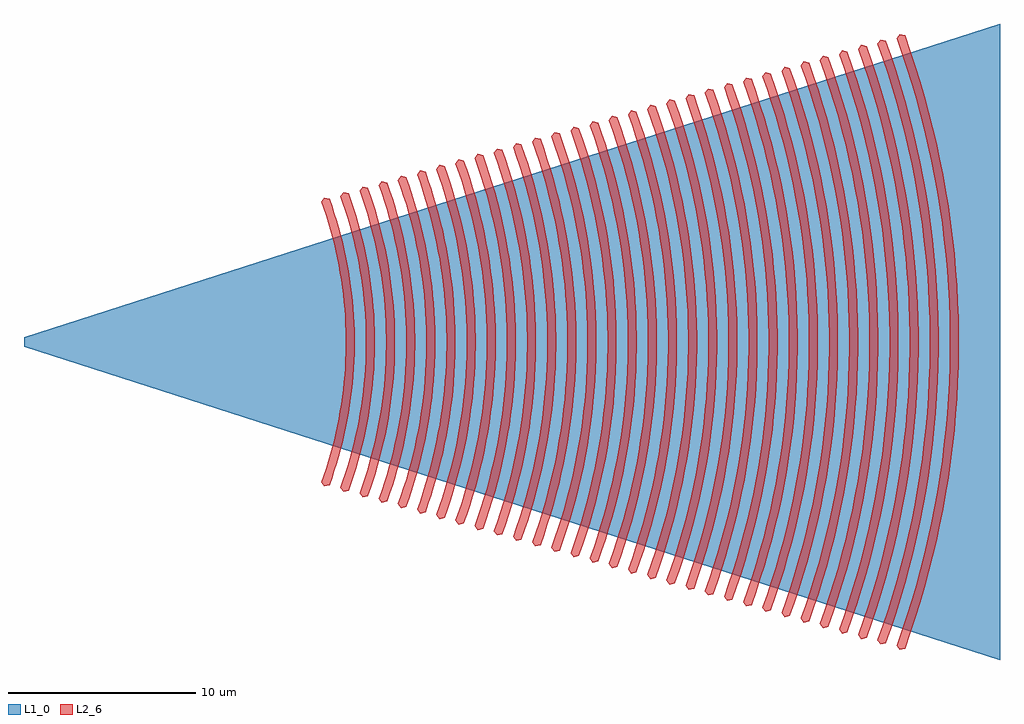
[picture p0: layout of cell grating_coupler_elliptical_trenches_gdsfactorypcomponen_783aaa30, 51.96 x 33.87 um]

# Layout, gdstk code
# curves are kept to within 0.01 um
import gdstk
lib = gdstk.Library(unit=1e-6, precision=1e-09)
def P(c, l, *ps):  # polygons
    for p in ps: c.add(gdstk.Polygon(p, *l))
L1_0 = (1, 0)
L2_6 = (2, 6)

grating_coupler_elliptic = lib.new_cell('grating_coupler_elliptical_trenches_gdsfactorypcomponen_783aaa30')
P(grating_coupler_elliptic, L1_0, [(62.46,-16.933),(10.5,-0.25),(10.5,0.25),(62.46,16.933)])
P(grating_coupler_elliptic, L2_6, [(26.496,-7.69),(26.325,-7.464),(26.695,-6.349),(26.909,-5.597),(27.178,-4.457),(27.385,-3.304),(27.49,-2.53),(27.566,-1.754),(27.614,-0.976),(27.635,-0.195),(27.628,0.585),(27.566,1.754),(27.49,2.53),(27.385,3.304),(27.178,4.457),(26.909,5.597),(26.695,6.349),(26.325,7.464),(26.496,7.69),(26.771,7.62),(27.028,6.866),(27.259,6.103),(27.463,5.33),(27.64,4.553),(27.851,3.376),(28.001,2.189),(28.065,1.394),(28.107,0.199),(28.086,-0.996),(28.001,-2.189),(27.851,-3.376),(27.64,-4.553),(27.463,-5.33),(27.259,-6.103),(27.028,-6.866),(26.771,-7.62)],
  [(27.517,-7.98),(27.346,-7.754),(27.731,-6.596),(28.053,-5.421),(28.232,-4.63),(28.448,-3.432),(28.556,-2.629),(28.635,-1.822),(28.685,-1.012),(28.707,-0.203),(28.7,0.608),(28.635,1.822),(28.556,2.629),(28.448,3.432),(28.232,4.63),(28.053,5.421),(27.731,6.596),(27.346,7.754),(27.517,7.98),(27.792,7.91),(28.059,7.127),(28.299,6.334),(28.511,5.533),(28.694,4.726),(28.914,3.504),(29.069,2.272),(29.135,1.447),(29.179,0.207),(29.157,-1.034),(29.069,-2.272),(28.914,-3.504),(28.694,-4.726),(28.511,-5.533),(28.299,-6.334),(28.059,-7.127),(27.792,-7.91)],
  [(28.538,-8.27),(28.367,-8.044),(28.766,-6.843),(28.996,-6.032),(29.286,-4.803),(29.51,-3.56),(29.622,-2.727),(29.704,-1.89),(29.756,-1.051),(29.779,-0.21),(29.771,0.631),(29.734,1.47),(29.667,2.309),(29.51,3.56),(29.286,4.803),(28.996,6.032),(28.766,6.843),(28.367,8.044),(28.538,8.27),(28.813,8.2),(29.09,7.389),(29.339,6.566),(29.558,5.736),(29.748,4.899),(29.976,3.632),(30.137,2.355),(30.206,1.5),(30.251,0.214),(30.228,-1.071),(30.137,-2.355),(29.976,-3.632),(29.748,-4.899),(29.558,-5.736),(29.339,-6.566),(29.09,-7.389),(28.813,-8.2)],
  [(29.559,-8.56),(29.388,-8.334),(29.802,-7.089),(30.04,-6.25),(30.34,-4.976),(30.572,-3.689),(30.688,-2.826),(30.774,-1.958),(30.827,-1.089),(30.851,-0.218),(30.843,0.654),(30.774,1.958),(30.688,2.826),(30.572,3.689),(30.34,4.976),(30.04,6.25),(29.802,7.089),(29.388,8.334),(29.559,8.56),(29.834,8.49),(30.121,7.651),(30.378,6.799),(30.605,5.939),(30.802,5.072),(31.038,3.761),(31.204,2.438),(31.276,1.552),(31.323,0.222),(31.299,-1.109),(31.204,-2.438),(31.038,-3.761),(30.802,-5.072),(30.605,-5.939),(30.378,-6.799),(30.121,-7.651),(29.834,-8.49)],
  [(30.58,-8.85),(30.409,-8.624),(30.837,-7.336),(31.195,-6.029),(31.482,-4.707),(31.634,-3.817),(31.755,-2.924),(31.843,-2.026),(31.899,-1.126),(31.923,-0.226),(31.915,0.676),(31.843,2.026),(31.755,2.924),(31.634,3.817),(31.482,4.707),(31.195,6.029),(30.837,7.336),(30.409,8.624),(30.58,8.85),(30.855,8.78),(31.152,7.911),(31.418,7.031),(31.653,6.143),(31.856,5.246),(32.028,4.343),(32.223,2.978),(32.346,1.607),(32.395,0.23),(32.371,-1.148),(32.272,-2.522),(32.1,-3.889),(31.856,-5.246),(31.653,-6.143),(31.418,-7.031),(31.152,-7.911),(30.855,-8.78)],
  [(31.601,-9.14),(31.43,-8.914),(31.733,-8.029),(32.127,-6.685),(32.448,-5.323),(32.697,-3.946),(32.821,-3.023),(32.912,-2.095),(32.97,-1.164),(32.995,-0.233),(32.987,0.699),(32.912,2.095),(32.821,3.023),(32.697,3.946),(32.448,5.323),(32.127,6.685),(31.733,8.029),(31.43,8.914),(31.601,9.14),(31.876,9.07),(32.183,8.173),(32.458,7.263),(32.7,6.345),(32.91,5.419),(33.163,4.018),(33.34,2.605),(33.417,1.66),(33.467,0.237),(33.442,-1.186),(33.34,-2.605),(33.163,-4.018),(33.003,-4.953),(32.809,-5.883),(32.583,-6.805),(32.324,-7.719),(32.032,-8.624),(31.876,-9.07)],
  [(32.622,-9.431),(32.451,-9.204),(32.908,-7.83),(33.171,-6.903),(33.503,-5.496),(33.759,-4.074),(33.887,-3.121),(33.981,-2.163),(34.041,-1.203),(34.067,-0.241),(34.041,1.203),(33.981,2.163),(33.887,3.121),(33.759,4.074),(33.503,5.496),(33.171,6.903),(32.908,7.83),(32.451,9.204),(32.622,9.431),(32.897,9.362),(33.059,8.9),(33.498,7.495),(33.748,6.548),(33.965,5.592),(34.225,4.146),(34.408,2.688),(34.487,1.713),(34.539,0.245),(34.513,-1.223),(34.408,-2.688),(34.225,-4.146),(33.965,-5.592),(33.748,-6.548),(33.498,-7.495),(33.059,-8.9),(32.897,-9.362)],
  [(33.643,-9.721),(33.472,-9.495),(33.795,-8.551),(34.215,-7.12),(34.557,-5.669),(34.821,-4.203),(34.954,-3.219),(35.051,-2.231),(35.112,-1.24),(35.139,-0.248),(35.13,0.745),(35.051,2.231),(34.954,3.219),(34.821,4.203),(34.557,5.669),(34.215,7.12),(33.795,8.551),(33.472,9.495),(33.643,9.721),(33.918,9.651),(34.085,9.175),(34.395,8.213),(34.671,7.24),(35.019,5.765),(35.287,4.275),(35.476,2.772),(35.557,1.766),(35.611,0.252),(35.584,-1.262),(35.521,-2.269),(35.359,-3.775),(35.117,-5.27),(34.911,-6.259),(34.671,-7.24),(34.245,-8.695),(33.918,-9.651)],
  [(34.664,-10.011),(34.493,-9.785),(34.979,-8.324),(35.385,-6.841),(35.611,-5.843),(35.883,-4.331),(36.02,-3.318),(36.12,-2.299),(36.183,-1.278),(36.211,-0.256),(36.202,0.767),(36.12,2.299),(36.02,3.318),(35.883,4.331),(35.611,5.843),(35.385,6.841),(34.979,8.324),(34.493,9.785),(34.664,10.011),(34.939,9.941),(35.111,9.451),(35.276,8.957),(35.577,7.96),(35.843,6.953),(36.073,5.939),(36.267,4.916),(36.349,4.403),(36.424,3.889),(36.544,2.855),(36.628,1.819),(36.683,0.26),(36.655,-1.3),(36.628,-1.819),(36.544,-2.855),(36.424,-3.889),(36.174,-5.428),(35.843,-6.953),(35.577,-7.96),(35.276,-8.957),(34.939,-9.941)],
  [(35.685,-10.301),(35.514,-10.075),(35.857,-9.074),(36.302,-7.555),(36.665,-6.016),(36.946,-4.46),(37.086,-3.416),(37.189,-2.367),(37.254,-1.317),(37.283,-0.263),(37.273,0.79),(37.189,2.367),(37.086,3.416),(36.946,4.46),(36.665,6.016),(36.302,7.555),(35.857,9.074),(35.514,10.075),(35.685,10.301),(35.96,10.231),(36.137,9.727),(36.307,9.218),(36.617,8.192),(36.89,7.156),(37.127,6.112),(37.232,5.587),(37.412,4.532),(37.612,2.938),(37.698,1.872),(37.755,0.267),(37.726,-1.337),(37.698,-1.872),(37.612,-2.938),(37.412,-4.532),(37.232,-5.587),(37.013,-6.635),(36.758,-7.675),(36.307,-9.218),(35.96,-10.231)],
  [(36.706,-10.591),(36.535,-10.364),(36.717,-9.851),(37.05,-8.817),(37.346,-7.773),(37.719,-6.189),(38.008,-4.588),(38.153,-3.514),(38.258,-2.436),(38.326,-1.354),(38.355,-0.271),(38.326,1.354),(38.258,2.436),(38.153,3.514),(38.008,4.588),(37.719,6.189),(37.346,7.773),(37.05,8.817),(36.717,9.851),(36.535,10.364),(36.706,10.591),(36.981,10.522),(37.163,10.003),(37.502,8.953),(37.802,7.893),(38.181,6.285),(38.387,5.203),(38.474,4.66),(38.553,4.115),(38.68,3.021),(38.798,1.376),(38.827,0.275),(38.798,-1.376),(38.68,-3.021),(38.553,-4.115),(38.387,-5.203),(38.289,-5.745),(38.064,-6.823),(37.802,-7.893),(37.502,-8.953),(37.337,-9.479),(36.981,-10.522)],
  [(37.727,-10.881),(37.556,-10.655),(37.743,-10.126),(38.085,-9.064),(38.242,-8.529),(38.527,-7.45),(38.882,-5.815),(39.07,-4.717),(39.219,-3.613),(39.328,-2.504),(39.397,-1.391),(39.427,-0.279),(39.417,0.836),(39.328,2.504),(39.219,3.613),(39.07,4.717),(38.882,5.815),(38.527,7.45),(38.242,8.529),(38.085,9.064),(37.743,10.126),(37.556,10.655),(37.727,10.881),(38.002,10.811),(38.189,10.278),(38.368,9.741),(38.696,8.657),(38.985,7.562),(39.235,6.458),(39.346,5.903),(39.536,4.789),(39.617,4.229),(39.748,3.105),(39.839,1.978),(39.899,0.283),(39.899,-0.283),(39.869,-1.413),(39.839,-1.978),(39.748,-3.105),(39.617,-4.229),(39.346,-5.903),(38.985,-7.562),(38.696,-8.657),(38.368,-9.741),(38.002,-10.811)],
  [(38.748,-11.171),(38.577,-10.945),(38.769,-10.402),(39.12,-9.311),(39.282,-8.761),(39.575,-7.653),(39.828,-6.536),(40.132,-4.845),(40.285,-3.711),(40.397,-2.572),(40.468,-1.43),(40.499,-0.286),(40.499,0.286),(40.468,1.43),(40.397,2.572),(40.285,3.711),(40.132,4.845),(39.828,6.536),(39.575,7.653),(39.282,8.761),(39.12,9.311),(38.769,10.402),(38.577,10.945),(38.748,11.171),(39.023,11.101),(39.215,10.554),(39.399,10.002),(39.736,8.889),(40.033,7.765),(40.29,6.632),(40.506,5.49),(40.598,4.917),(40.681,4.342),(40.816,3.188),(40.909,2.031),(40.94,1.45),(40.971,0.29),(40.971,-0.29),(40.94,-1.45),(40.909,-2.031),(40.816,-3.188),(40.681,-4.342),(40.506,-5.49),(40.403,-6.062),(40.29,-6.632),(40.033,-7.765),(39.736,-8.889),(39.399,-10.002),(39.023,-11.101)],
  [(39.77,-11.461),(39.599,-11.235),(39.795,-10.678),(40.156,-9.558),(40.477,-8.426),(40.622,-7.856),(40.882,-6.709),(41.195,-4.973),(41.351,-3.81),(41.466,-2.64),(41.539,-1.467),(41.571,-0.294),(41.56,0.881),(41.539,1.467),(41.466,2.64),(41.351,3.81),(41.195,4.973),(40.882,6.709),(40.622,7.856),(40.477,8.426),(40.156,9.558),(39.795,10.678),(39.599,11.235),(39.77,11.461),(40.045,11.391),(40.241,10.83),(40.608,9.694),(40.933,8.546),(41.08,7.968),(41.344,6.805),(41.566,5.634),(41.661,5.045),(41.746,4.455),(41.884,3.271),(41.979,2.084),(42.011,1.489),(42.043,0.298),(42.043,-0.298),(42.011,-1.489),(41.979,-2.084),(41.884,-3.271),(41.746,-4.455),(41.566,-5.634),(41.46,-6.22),(41.217,-7.387),(40.933,-8.546),(40.608,-9.694),(40.43,-10.263),(40.045,-11.391)],
  [(40.791,-11.751),(40.62,-11.525),(40.821,-10.954),(41.191,-9.804),(41.521,-8.643),(41.67,-8.059),(41.936,-6.882),(42.053,-6.291),(42.257,-5.102),(42.418,-3.908),(42.536,-2.708),(42.61,-1.505),(42.643,-0.301),(42.632,0.904),(42.578,2.107),(42.536,2.708),(42.418,3.908),(42.257,5.102),(42.053,6.291),(41.936,6.882),(41.67,8.059),(41.521,8.643),(41.191,9.804),(40.821,10.954),(40.62,11.525),(40.791,11.751),(41.066,11.681),(41.267,11.106),(41.643,9.94),(41.977,8.763),(42.128,8.171),(42.398,6.978),(42.626,5.777),(42.81,4.568),(42.886,3.962),(43.006,2.746),(43.05,2.137),(43.104,0.916),(43.115,0.305),(43.104,-0.916),(43.05,-2.137),(43.006,-2.746),(42.886,-3.962),(42.81,-4.568),(42.626,-5.777),(42.517,-6.379),(42.398,-6.978),(42.128,-8.171),(41.815,-9.353),(41.461,-10.525),(41.066,-11.681)],
  [(41.812,-12.041),(41.641,-11.815),(41.848,-11.229),(42.227,-10.051),(42.401,-9.457),(42.717,-8.261),(42.99,-7.055),(43.22,-5.84),(43.319,-5.23),(43.484,-4.006),(43.605,-2.776),(43.681,-1.543),(43.715,-0.309),(43.704,0.927),(43.648,2.16),(43.605,2.776),(43.484,4.006),(43.319,5.23),(43.22,5.84),(42.99,7.055),(42.717,8.261),(42.401,9.457),(42.227,10.051),(41.848,11.229),(41.641,11.815),(41.812,12.041),(42.087,11.971),(42.294,11.381),(42.492,10.786),(42.855,9.585),(43.175,8.373),(43.452,7.151),(43.686,5.92),(43.785,5.302),(43.875,4.682),(44.019,3.438),(44.12,2.19),(44.176,0.939),(44.187,0.313),(44.176,-0.939),(44.12,-2.19),(44.075,-2.814),(44.019,-3.438),(43.875,-4.682),(43.686,-5.92),(43.574,-6.537),(43.319,-7.764),(43.175,-8.373),(42.855,-9.585),(42.492,-10.786),(42.087,-11.971)],
  [(42.833,-12.331),(42.662,-12.105),(43.073,-10.903),(43.441,-9.69),(43.608,-9.078),(43.91,-7.848),(44.044,-7.229),(44.28,-5.984),(44.471,-4.733),(44.55,-4.105),(44.674,-2.845),(44.753,-1.581),(44.787,-0.317),(44.787,0.317),(44.753,1.581),(44.674,2.845),(44.55,4.105),(44.381,5.359),(44.28,5.984),(44.044,7.229),(43.765,8.464),(43.441,9.69),(43.262,10.298),(42.874,11.505),(42.662,12.105),(42.833,12.331),(43.108,12.261),(43.32,11.657),(43.523,11.047),(43.895,9.818),(44.223,8.576),(44.506,7.325),(44.746,6.064),(44.847,5.431),(44.939,4.795),(45.087,3.521),(45.144,2.883),(45.225,1.603),(45.259,0.321),(45.259,-0.321),(45.225,-1.603),(45.144,-2.883),(45.087,-3.521),(44.939,-4.795),(44.746,-6.064),(44.631,-6.695),(44.506,-7.325),(44.223,-8.576),(43.895,-9.818),(43.523,-11.047),(43.108,-12.261)],
  [(43.854,-12.621),(43.683,-12.395),(43.9,-11.781),(44.298,-10.545),(44.652,-9.296),(44.961,-8.036),(45.098,-7.402),(45.225,-6.766),(45.444,-5.487),(45.617,-4.203),(45.743,-2.913),(45.824,-1.62),(45.859,-0.324),(45.859,0.324),(45.824,1.62),(45.743,2.913),(45.617,4.203),(45.444,5.487),(45.225,6.766),(45.098,7.402),(44.961,8.036),(44.652,9.296),(44.298,10.545),(43.9,11.781),(43.683,12.395),(43.854,12.621),(44.129,12.551),(44.346,11.933),(44.75,10.681),(45.108,9.416),(45.421,8.14),(45.56,7.498),(45.689,6.854),(45.91,5.559),(46.085,4.257),(46.155,3.604),(46.261,2.296),(46.296,1.64),(46.331,0.328),(46.331,-0.328),(46.296,-1.64),(46.261,-2.296),(46.155,-3.604),(46.085,-4.257),(45.91,-5.559),(45.689,-6.854),(45.421,-8.14),(45.108,-9.416),(44.75,-10.681),(44.554,-11.308),(44.129,-12.551)],
  [(44.875,-12.911),(44.704,-12.685),(45.135,-11.426),(45.52,-10.154),(45.695,-9.514),(46.012,-8.224),(46.153,-7.575),(46.399,-6.271),(46.506,-5.616),(46.683,-4.301),(46.813,-2.981),(46.895,-1.657),(46.931,-0.332),(46.919,0.995),(46.895,1.657),(46.813,2.981),(46.683,4.301),(46.506,5.616),(46.282,6.924),(46.153,7.575),(46.012,8.224),(45.695,9.514),(45.52,10.154),(45.135,11.426),(44.704,12.685),(44.875,12.911),(45.15,12.841),(45.585,11.57),(45.974,10.282),(46.151,9.634),(46.472,8.328),(46.615,7.671),(46.746,7.012),(46.972,5.688),(47.068,5.022),(47.223,3.688),(47.283,3.019),(47.367,1.679),(47.403,0.336),(47.403,-0.336),(47.367,-1.679),(47.283,-3.019),(47.223,-3.688),(47.068,-5.022),(46.865,-6.351),(46.746,-7.012),(46.472,-8.328),(46.151,-9.634),(45.974,-10.282),(45.585,-11.57),(45.15,-12.841)],
  [(45.896,-13.202),(45.725,-12.976),(46.166,-11.687),(46.56,-10.386),(46.739,-9.731),(47.063,-8.412),(47.207,-7.748),(47.459,-6.414),(47.568,-5.744),(47.749,-4.4),(47.882,-3.049),(47.966,-1.695),(48.002,-0.339),(47.99,1.018),(47.966,1.695),(47.882,3.049),(47.749,4.4),(47.568,5.744),(47.339,7.082),(47.207,7.748),(46.907,9.073),(46.56,10.386),(46.368,11.038),(45.952,12.332),(45.725,12.976),(45.896,13.202),(46.171,13.132),(46.616,11.831),(47.014,10.514),(47.195,9.851),(47.365,9.185),(47.669,7.844),(47.925,6.494),(48.034,5.816),(48.132,5.135),(48.291,3.771),(48.352,3.087),(48.438,1.717),(48.474,0.343),(48.462,-1.03),(48.438,-1.717),(48.352,-3.087),(48.291,-3.771),(48.132,-5.135),(47.925,-6.494),(47.803,-7.17),(47.523,-8.516),(47.365,-9.185),(47.014,-10.514),(46.616,-11.831),(46.171,-13.132)],
  [(46.917,-13.492),(46.746,-13.266),(46.978,-12.608),(47.404,-11.285),(47.783,-9.949),(48.114,-8.6),(48.261,-7.922),(48.519,-6.558),(48.729,-5.187),(48.815,-4.498),(48.951,-3.117),(49.037,-1.734),(49.074,-0.347),(49.062,1.04),(49.037,1.734),(48.951,3.117),(48.815,4.498),(48.63,5.873),(48.519,6.558),(48.261,7.922),(48.114,8.6),(47.783,9.949),(47.404,11.285),(46.978,12.608),(46.746,13.266),(46.917,13.492),(47.192,13.422),(47.646,12.092),(47.856,11.421),(48.239,10.069),(48.574,8.704),(48.723,8.018),(48.985,6.638),(49.096,5.945),(49.197,5.249),(49.359,3.854),(49.472,2.455),(49.534,1.052),(49.546,0.351),(49.534,-1.052),(49.509,-1.754),(49.472,-2.455),(49.359,-3.854),(49.197,-5.249),(48.985,-6.638),(48.86,-7.329),(48.574,-8.704),(48.239,-10.069),(47.856,-11.421),(47.646,-12.092),(47.192,-13.422)],
  [(47.938,-13.782),(47.767,-13.556),(48.227,-12.21),(48.639,-10.851),(48.827,-10.166),(49.165,-8.788),(49.315,-8.095),(49.579,-6.701),(49.793,-5.3),(49.957,-3.892),(50.02,-3.186),(50.108,-1.771),(50.146,-0.354),(50.134,1.063),(50.108,1.771),(50.02,3.186),(49.882,4.597),(49.693,6.001),(49.579,6.701),(49.315,8.095),(49.165,8.788),(48.827,10.166),(48.439,11.532),(48.004,12.884),(47.767,13.556),(47.938,13.782),(48.213,13.712),(48.677,12.354),(49.093,10.979),(49.283,10.286),(49.625,8.892),(49.777,8.191),(50.045,6.781),(50.159,6.073),(50.261,5.362),(50.427,3.938),(50.542,2.508),(50.606,1.075),(50.618,0.358),(50.606,-1.075),(50.58,-1.793),(50.542,-2.508),(50.427,-3.938),(50.261,-5.362),(50.159,-6.073),(49.917,-7.487),(49.625,-8.892),(49.283,-10.286),(49.093,-10.979),(48.677,-12.354),(48.213,-13.712)],
  [(48.959,-14.072),(48.788,-13.846),(49.03,-13.159),(49.475,-11.779),(49.87,-10.384),(50.216,-8.976),(50.51,-7.557),(50.638,-6.844),(50.755,-6.129),(50.948,-4.695),(51.09,-3.254),(51.179,-1.808),(51.218,-0.362),(51.205,1.086),(51.179,1.808),(51.09,3.254),(50.948,4.695),(50.755,6.129),(50.51,7.557),(50.369,8.268),(50.216,8.976),(49.87,10.384),(49.475,11.779),(49.03,13.159),(48.788,13.846),(48.959,14.072),(49.234,14.002),(49.708,12.615),(49.927,11.915),(50.326,10.504),(50.676,9.08),(50.831,8.364),(50.974,7.645),(51.221,6.201),(51.325,5.476),(51.495,4.021),(51.612,2.561),(51.651,1.83),(51.69,0.366),(51.69,-0.366),(51.651,-1.83),(51.56,-3.292),(51.495,-4.021),(51.325,-5.476),(51.221,-6.201),(50.974,-7.645),(50.676,-9.08),(50.326,-10.504),(49.927,-11.915),(49.708,-12.615),(49.234,-14.002)],
  [(49.98,-14.362),(49.809,-14.136),(50.056,-13.435),(50.51,-12.026),(50.914,-10.601),(51.267,-9.164),(51.567,-7.716),(51.698,-6.988),(51.922,-5.527),(52.014,-4.793),(52.159,-3.322),(52.251,-1.847),(52.29,-0.37),(52.29,0.37),(52.251,1.847),(52.159,3.322),(52.014,4.793),(51.817,6.258),(51.567,7.716),(51.267,9.164),(51.097,9.884),(50.914,10.601),(50.51,12.026),(50.056,13.435),(49.809,14.136),(49.98,14.362),(50.255,14.292),(50.739,12.876),(51.172,11.443),(51.555,9.996),(51.727,9.268),(52.031,7.804),(52.164,7.068),(52.39,5.589),(52.563,4.104),(52.683,2.615),(52.723,1.867),(52.762,0.374),(52.762,-0.374),(52.723,-1.867),(52.683,-2.615),(52.563,-4.104),(52.39,-5.589),(52.164,-7.068),(52.031,-7.804),(51.727,-9.268),(51.555,-9.996),(51.172,-11.443),(50.739,-12.876),(50.255,-14.292)],
  [(51.001,-14.652),(50.83,-14.425),(51.083,-13.711),(51.546,-12.272),(51.958,-10.819),(52.318,-9.352),(52.478,-8.615),(52.758,-7.131),(52.986,-5.639),(53.161,-4.141),(53.228,-3.39),(53.322,-1.884),(53.362,-0.377),(53.349,1.131),(53.322,1.884),(53.228,3.39),(53.081,4.892),(52.879,6.386),(52.625,7.874),(52.478,8.615),(52.318,9.352),(51.958,10.819),(51.546,12.272),(51.083,13.711),(50.83,14.425),(51.001,14.652),(51.276,14.583),(51.77,13.138),(51.998,12.408),(52.414,10.939),(52.602,10.199),(52.778,9.456),(53.089,7.962),(53.224,7.211),(53.454,5.703),(53.631,4.187),(53.753,2.668),(53.794,1.906),(53.834,0.381),(53.821,-1.143),(53.794,-1.906),(53.753,-2.668),(53.631,-4.187),(53.454,-5.703),(53.224,-7.211),(53.089,-7.962),(52.778,-9.456),(52.602,-10.199),(52.414,-10.939),(51.998,-12.408),(51.77,-13.138),(51.276,-14.583)],
  [(52.022,-14.942),(51.851,-14.715),(52.351,-13.255),(52.798,-11.78),(53.001,-11.037),(53.192,-10.29),(53.532,-8.788),(53.818,-7.275),(54.051,-5.754),(54.229,-4.225),(54.352,-2.691),(54.393,-1.923),(54.434,-0.385),(54.42,1.154),(54.352,2.691),(54.229,4.225),(54.147,4.99),(53.942,6.515),(53.682,8.032),(53.532,8.788),(53.192,10.29),(52.798,11.78),(52.581,12.519),(52.109,13.987),(51.851,14.715),(52.022,14.942),(52.297,14.873),(52.801,13.399),(53.033,12.655),(53.252,11.908),(53.65,10.402),(53.994,8.884),(54.146,8.12),(54.284,7.355),(54.519,5.816),(54.699,4.271),(54.824,2.721),(54.865,1.943),(54.906,0.389),(54.906,-0.389),(54.865,-1.943),(54.824,-2.721),(54.699,-4.271),(54.519,-5.816),(54.284,-7.355),(54.146,-8.12),(53.994,-8.884),(53.65,-10.402),(53.252,-11.908),(53.033,-12.655),(52.801,-13.399),(52.297,-14.873)],
  [(53.043,-15.232),(52.872,-15.006),(53.382,-13.516),(53.838,-12.012),(54.045,-11.254),(54.239,-10.493),(54.586,-8.961),(54.878,-7.418),(55.004,-6.643),(55.213,-5.088),(55.367,-3.526),(55.464,-1.961),(55.506,-0.392),(55.492,1.177),(55.464,1.961),(55.367,3.526),(55.213,5.088),(55.004,6.643),(54.739,8.191),(54.586,8.961),(54.239,10.493),(54.045,11.254),(53.838,12.012),(53.382,13.516),(52.872,15.006),(53.043,15.232),(53.318,15.162),(53.832,13.66),(54.068,12.902),(54.292,12.14),(54.697,10.605),(55.048,9.057),(55.203,8.279),(55.344,7.498),(55.583,5.929),(55.766,4.354),(55.894,2.774),(55.964,1.189),(55.978,0.396),(55.964,-1.189),(55.936,-1.981),(55.837,-3.564),(55.766,-4.354),(55.583,-5.929),(55.344,-7.498),(55.203,-8.279),(55.048,-9.057),(54.697,-10.605),(54.292,-12.14),(54.068,-12.902),(53.832,-13.66),(53.318,-15.162)],
  [(54.064,-15.522),(53.893,-15.296),(54.413,-13.778),(54.652,-13.013),(55.089,-11.472),(55.47,-9.917),(55.64,-9.134),(55.938,-7.562),(56.066,-6.772),(56.279,-5.187),(56.436,-3.595),(56.535,-1.998),(56.578,-0.4),(56.564,1.2),(56.535,1.998),(56.436,3.595),(56.279,5.187),(56.066,6.772),(55.796,8.349),(55.64,9.134),(55.287,10.696),(55.089,11.472),(54.652,13.013),(54.161,14.538),(53.893,15.296),(54.064,15.522),(54.339,15.452),(54.863,13.922),(55.104,13.149),(55.545,11.592),(55.745,10.808),(56.102,9.23),(56.26,8.437),(56.404,7.642),(56.647,6.043),(56.834,4.437),(56.964,2.827),(57.036,1.212),(57.05,0.404),(57.036,-1.212),(56.964,-2.827),(56.906,-3.633),(56.834,-4.437),(56.647,-6.043),(56.404,-7.642),(56.26,-8.437),(56.102,-9.23),(55.745,-10.808),(55.545,-11.592),(55.104,-13.149),(54.863,-13.922),(54.339,-15.452)],
  [(55.086,-15.812),(54.915,-15.586),(55.444,-14.039),(55.917,-12.476),(56.133,-11.689),(56.334,-10.899),(56.694,-9.308),(56.997,-7.705),(57.128,-6.9),(57.346,-5.285),(57.505,-3.663),(57.606,-2.036),(57.65,-0.408),(57.636,1.222),(57.563,2.85),(57.505,3.663),(57.346,5.285),(57.128,6.9),(56.853,8.508),(56.694,9.308),(56.334,10.899),(56.133,11.689),(55.917,12.476),(55.444,14.039),(54.915,15.586),(55.086,15.812),(55.361,15.742),(55.894,14.183),(56.139,13.396),(56.589,11.809),(56.792,11.011),(56.981,10.209),(57.317,8.596),(57.463,7.785),(57.712,6.157),(57.902,4.521),(58.035,2.88),(58.108,1.234),(58.122,0.412),(58.108,-1.234),(58.078,-2.058),(58.035,-2.88),(57.902,-4.521),(57.712,-6.157),(57.463,-7.785),(57.317,-8.596),(57.156,-9.404),(56.792,-11.011),(56.589,-11.809),(56.139,-13.396),(55.894,-14.183),(55.361,-15.742)],
  [(56.107,-16.102),(55.936,-15.876),(56.213,-15.09),(56.723,-13.507),(57.176,-11.907),(57.382,-11.102),(57.749,-9.481),(58.057,-7.848),(58.191,-7.029),(58.412,-5.384),(58.574,-3.731),(58.678,-2.075),(58.722,-0.415),(58.722,0.415),(58.678,2.075),(58.574,3.731),(58.412,5.384),(58.191,7.029),(57.91,8.666),(57.749,9.481),(57.382,11.102),(56.957,12.709),(56.723,13.507),(56.213,15.09),(55.936,15.876),(56.107,16.102),(56.382,16.032),(56.925,14.444),(57.175,13.643),(57.411,12.837),(57.84,11.214),(58.211,9.577),(58.374,8.754),(58.657,7.101),(58.776,6.269),(58.97,4.604),(59.105,2.933),(59.15,2.095),(59.194,0.419),(59.194,-0.419),(59.15,-2.095),(59.105,-2.933),(58.97,-4.604),(58.776,-6.269),(58.657,-7.101),(58.374,-8.754),(58.211,-9.577),(57.84,-11.214),(57.411,-12.837),(57.175,-13.643),(56.925,-14.444),(56.382,-16.032)],
  [(57.128,-16.392),(56.957,-16.166),(57.239,-15.365),(57.758,-13.753),(58.22,-12.124),(58.429,-11.304),(58.803,-9.654),(59.117,-7.992),(59.373,-6.321),(59.478,-5.482),(59.644,-3.799),(59.749,-2.112),(59.794,-0.423),(59.779,1.268),(59.749,2.112),(59.644,3.799),(59.478,5.482),(59.253,7.157),(59.117,7.992),(58.803,9.654),(58.429,11.304),(58.22,12.124),(57.758,13.753),(57.239,15.365),(56.957,16.166),(57.128,16.392),(57.403,16.322),(57.955,14.706),(58.21,13.889),(58.676,12.244),(58.887,11.416),(59.265,9.75),(59.431,8.912),(59.583,8.072),(59.841,6.383),(60.038,4.687),(60.114,3.837),(60.221,2.134),(60.266,0.427),(60.266,-0.427),(60.221,-2.134),(60.114,-3.837),(60.038,-4.687),(59.841,-6.383),(59.583,-8.072),(59.431,-8.912),(59.265,-9.75),(58.887,-11.416),(58.676,-12.244),(58.21,-13.889),(57.955,-14.706),(57.403,-16.322)])

lib.write_gds('grating_coupler_elliptical_trenches_gdsfactorypcomponen_783aaa30.gds')
